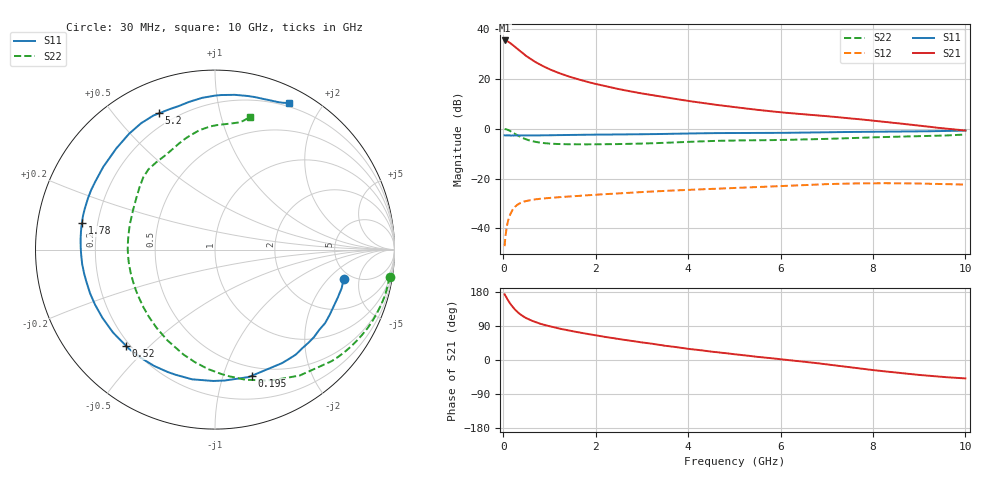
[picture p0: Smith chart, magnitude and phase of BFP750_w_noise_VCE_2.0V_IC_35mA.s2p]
! Infineon Technologies  Discrete & RF Semiconductors
! BFP750
! VCE =  2.0 V,  IC =  35 mA
! Common Emitter S-Parameters:  Jan 2016
# GHz  S  MA  R  50
!  f  S11  S21  S12  S22
! GHz  MAG  ANG  MAG  ANG  MAG  ANG  MAG  ANG
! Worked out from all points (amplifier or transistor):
!   229 points, 30 MHz to 10 GHz, reference 50 ohm
!   highest |S21| = 35.4 dB at 30 MHz (marker M1)
!   |S21| within 3 dB of that: start of sweep to 282 MHz
!   unconditionally stable (mu >= 1): 4.297 GHz to end of sweep
!   at 280 MHz: K = 0.14, MSG = 31.7 dB, |S12| = -30.9 dB
!   at 1.78 GHz: K = 0.64, MSG = 22.9 dB, |S12| = -26.7 dB
!   at 10 GHz: K = 1.07, MAG = 9.2 dB, |S12| = -22.4 dB
!   lowest NFmin = 0.89 dB at 450 MHz
!   S11 on the Smith chart (normalised r, x): 30 MHz: 4.31, -3.06; 195 MHz: 0.41, -1.25; 520 MHz: 0.19, -0.42; 1.78 GHz: 0.14, +0.10; 5.2 GHz: 0.14, +0.66; 10 GHz: 0.16, +1.62
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0.03  0.7357 -12.8  58.91 173.4  0.0044 84.0  0.9843 -8.8
0.05  0.7344 -21.3  58.79 168.6  0.0072 81.1  0.981 -15.0
0.08  0.7376 -33.8  57.47 162.6  0.0112 74.8  0.9636 -24.2
0.12  0.7339 -48.9  54.71 154.4  0.0159 67.7  0.9296 -35.7
0.15  0.7344 -59.5  52.55 148.9  0.019 62.6  0.8995 -43.7
0.195  0.732 -73.6  48.69 141.4  0.0229 56.3  0.8489 -54.8
0.26  0.732 -90.7  43.43 132.4  0.0274 48.9  0.7814 -69.0
0.36  0.7311 -111.1  36.19 121.4  0.0319 40.4  0.694 -87.1
0.45  0.7314 -124.7  31.04 113.8  0.0345 35.1  0.6362 -100.3
0.52  0.7299 -132.8  27.83 109.4  0.0358 32.1  0.6011 -108.7
0.7  0.7335 -148.8  21.65 99.8  0.0383 26.8  0.5445 -126.6
0.9  0.7375 -160.8  17.26 92.2  0.0401 23.5  0.5126 -140.9
1.2  0.7445 -173.9  13.14 83.3  0.0422 20.8  0.4924 -156.4
1.7  0.7549 170.8  9.34 71.5  0.0454 18.5  0.4856 -173.8
1.78  0.7562 168.8  8.913 69.8  0.046 18.1  0.4854 -176.0
2.5  0.7659 152.7  6.234 55.4  0.0504 15.4  0.4918 166.2
3.4  0.7834 136.1  4.416 39.6  0.056 11.8  0.5171 149.4
5.1  0.8214 113.6  2.643 14.0  0.0652 3.8  0.5814 128.5
5.2  0.8211 112.4  2.577 12.6  0.0658 3.3  0.5823 127.4
6.8  0.8424 96.9  1.846 -8.5  0.0758 -6.3  0.6178 110.2
8.4  0.8752 77.9  1.326 -31.8  0.0806 -20.6  0.6866 92.2
10  0.9151 63.1  0.92 -48.6  0.0757 -31.5  0.7644 75.1
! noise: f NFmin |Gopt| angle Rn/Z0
0.45  0.89  0.14  -166  0.37
0.9  0.91  0.19  -160  0.17
1.5  0.92  0.25  -158  0.08
1.9  0.94  0.27  -153  0.07
2.4  0.96  0.29  -147  0.09
3.5  1.19  0.33  -132  0.08
